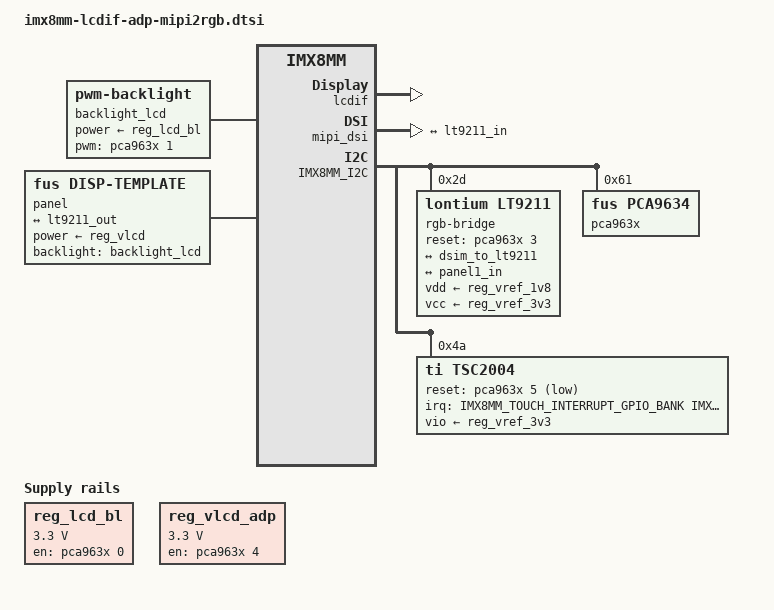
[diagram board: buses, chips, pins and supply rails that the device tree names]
/*
 * Copyright (C) 2021 F&S Elektronik Systeme GmbH
 *
 * This program is free software; you can redistribute it and/or modify
 * it under the terms of the GNU General Public License version 2 as
 * published by the Free Software Foundation.
 */

#define CONFIG_PICOCOREMX8MM_MIPI_DSI

/ {
	regulators {
		reg_lcd_bl: backlight_lcd {
			compatible = "regulator-fixed";
			regulator-name = "lcd-bl";
			gpio = <&pca963x 0 0>;
			regulator-min-microvolt = <3300000>;
			regulator-max-microvolt = <3300000>;
			enable-active-high;
		};

		/* LCD power on voltage */
		reg_vlcd_adp: vlcd_adp {
			compatible = "regulator-fixed";
			regulator-name = "VLCD-ADP";
			gpio = <&pca963x 4 0>;
			regulator-min-microvolt = <3300000>;
			regulator-max-microvolt = <3300000>;
			enable-active-high;
		};
	};

	backlight_lcd: backlight_lcd {
		compatible = "pwm-backlight";
		pwms = <&pca963x 1 10752 0>;
		power-supply = <&reg_lcd_bl>;

		brightness-levels = <0 1 5 10 18 28 41 56
				     73 92 113 137 163 192 222 255>;
		default-brightness-level = <14>;
	};

	/* Simple panel driver */
	panel: panel {
		compatible = "fus,disp-template";
		backlight = <&backlight_lcd>;
		power-supply = <&reg_vlcd>;
 
		/* refresh-rate in Hz */
		refresh-rate = <60>;
		/* bits per color */
		bits-per-color = <8>;
		/* DRM_BUS_FLAG_DE_HIGH */
		bus-flags = <2>;
		/* MEDIA_BUS_FMT_RBG888_1X24 */
		bus-format = <0x100e>;
		panel-width-mm = <211>;
		panel-height-mm = <158>;

		display-timings {
			native-mode = <&timing0>;
			timing0: ET070080DH6 {
				clock-frequency = <33000000>;
				hactive = <800>;
				vactive = <480>;
				hback-porch = <216>;
				hfront-porch = <24>;
				hsync-len = <8>;
				vback-porch = <35>;
				vfront-porch = <8>;
				vsync-len = <2>;
			};
		};

		port@0 {
			panel1_in: endpoint {
				remote-endpoint = <&lt9211_out>;
			};
		};
	};
};

&lcdif {
	status = "okay";
	/* important to overwrite max-res otherwise DRM lcdif will fail to find a suitable connector */
	max-res = <4096>, <4096>;
};

&mipi_dsi {
	status = "okay";

	bus-fmt = <0x100a>;

	port@1 {
		reg = <1>;
		dsim_to_lt9211: endpoint {
			remote-endpoint = <&lt9211_in>;
			data-lanes = <0 1 2 3>;
			attach-bridge;
		};
	};
};

&IMX8MM_I2C {
    /* mipi to RGB controller  */
	rgb-bridge@2d {
		#address-cells = <1>;
		#size-cells = <0>;
		compatible = "lontium,lt9211";
		reg = <0x2d>;
		/* 0 = LVDS, 1 = MIPI, 2 = TTL */
		rx-source = /bits/ 8 <1>;
		/* optional: normally taken from simple panel display but can be
		 * overwritten by bus-fmt flag: 6 = RGB666, 8 = RGB888
		 */
		bus-fmt = /bits/ 8 <8>;
		/* PCLK will inverted because dotclock polarity from sec_mipi_dsim-imx
		 * is set to neg edge. The display needs dotclock pos edge therefore
		 * we inverte dotclock polarity.
		 */
		pclk-invert;

		/* s. datasheet reg 0x856d rgd_ttl_tx_24B_mode_sel 
		 * 	0 - output 3 channel 8 bit data
		 * 	1 - output 2 channel 12 bit data
		 *  ...
		 *  4 - output 3 channel 6 bit (high 18 bit active)
		 *  5 - output 3 channel 6 bit (low 18 bit active)
		 *  ...
		 * */
		rgb-output-mode = /bits/ 8 <0>; 
        reset-gpios = <&pca963x 3 GPIO_ACTIVE_HIGH>;
		/* TODO: in driver not supported */
		//interrupts-extended = <&gpio4 20 IRQ_TYPE_EDGE_FALLING>;
		vdd-supply = <&reg_vref_1v8>;
		vcc-supply = <&reg_vref_3v3>;

		port@0 {
			reg = <0>;
			lt9211_in: endpoint {
				remote-endpoint = <&dsim_to_lt9211>;
			};
		};

		port@1 {
			reg = <1>;
			lt9211_out: endpoint {
				remote-endpoint = <&panel1_in>;
			};
		};
    };

	pca963x: pca9634@61 {
			compatible = "fus,pca9634";
			reg = <0x61>;
			nxp,totem-pole;
			#address-cells = <1>;
			#size-cells = <0>;
			#pwm-cells = <3>;
			#gpio-cells = <2>;
			led@0 {
				reg = <0>;
				label = "BL_ON";
				type = "GPIO";
				default-on;		/* or: keep-value */
				active-high;
			};
			led@1 {
				reg = <1>;
				label = "BL_PWM";
				type = "PWM";
				default-on;		/* or: keep-value */
				active-low;
			};
			led@2 {
				reg = <2>;
				label = "ROTATE";
				type = "GPIO";
				active-high;
			};
			led@3 {
				reg = <3>;
				label = "MIPI_RST";
				type = "GPIO";
				active-high;
				default-on;		/* or: keep-value */
			};
			led@4 {
				reg = <4>;
				label = "VLCD_ON";
				type = "GPIO";
				default-on;		/* or: keep-value */
				active-high;
			};
			led@5 {
				reg = <5>;
				label = "TOUCH_RST";
				type = "GPIO";
				active-high;
				default-on;		/* or: keep-value */
			};
			led@6 {
				reg = <6>;
				label = "6-unused";
				type = "LED";
				active-low;
			};
			led@7 {
				reg = <7>;
				label = "7-unused";
				type = "LED";
				active-low;
			};
		};

	tsc2004@4a {
		compatible = "ti,tsc2004";
		reg = <0x4a>;
		vio-supply = <&reg_vref_3v3>;
		reset-gpios = <&pca963x 5 GPIO_ACTIVE_LOW>;
		interrupts-extended = <&IMX8MM_TOUCH_INTERRUPT_GPIO_BANK IMX8MM_TOUCH_INTERRUPT_GPIO_NUM IRQ_TYPE_EDGE_FALLING>;

		touchscreen-fuzz-x = <4>;
		touchscreen-fuzz-y = <7>;
		touchscreen-fuzz-pressure = <20>;
		touchscreen-size-x = <4096>;
		touchscreen-size-y = <4096>;
		touchscreen-max-pressure = <2048>;
		touchscreen-inverted-y;
		ti,x-plate-ohms = <280>;
		//ti,esd-recovery-timeout-ms = <8000>;
	};
};

